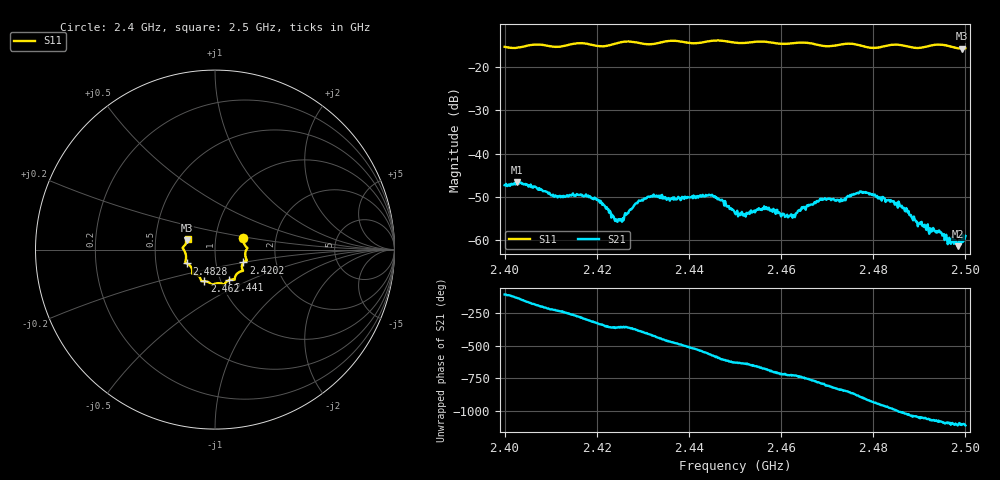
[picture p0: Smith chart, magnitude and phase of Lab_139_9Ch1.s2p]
# Hz S RI R 50
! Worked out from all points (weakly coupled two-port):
!   601 points, 2.4 GHz to 2.5 GHz, reference 50 ohm
!   highest |S21| = -46.59 dB at 2.4027 GHz (marker M1); lowest = -61.4 dB at 2.4983 GHz (marker M2)
!   lowest |S11| = -15.8 dB at 2.4993 GHz (marker M3), VSWR 1.39, Z = 36.5 + j3.84 ohm
!   |S11| at or under -10 dB: start of sweep to end of sweep
!   S12 and S22 are empty: the file has one direction only
!   S11 on the Smith chart (normalised r, x): 2.4 GHz: 1.36, +0.18; 2.4202 GHz: 1.36, -0.20; 2.441 GHz: 1.10, -0.39; 2.462 GHz: 0.84, -0.30; 2.4828 GHz: 0.72, -0.11; 2.5 GHz: 0.73, +0.09
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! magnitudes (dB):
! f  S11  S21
! 2.4 GHz  -15.4  -47.3
! 2.4027 GHz  -15.6  -46.6
! 2.4112 GHz  -15.4  -49.8
! 2.4167 GHz  -14.5  -49.7
! 2.4202 GHz  -15.2  -50.6
! 2.425 GHz  -14.4  -55.4
! 2.4288 GHz  -14.4  -51.5
! 2.4333 GHz  -14.5  -50.1
! 2.441 GHz  -14.6  -49.7
! 2.4448 GHz  -14.0  -49.6
! 2.45 GHz  -14.4  -53.7
! 2.4568 GHz  -14.2  -52.4
! 2.462 GHz  -14.6  -54.3
! 2.4667 GHz  -14.6  -51.7
! 2.4775 GHz  -15.1  -48.8
! 2.4828 GHz  -15.1  -50.8
! 2.4833 GHz  -15.0  -50.7
! 2.486 GHz  -15.0  -52.2
! 2.4898 GHz  -15.6  -56.2
! 2.4983 GHz  -15.7  -61.4
! 2.4993 GHz  -15.8  -58.6
! 2.5 GHz  -15.7  -59.0
